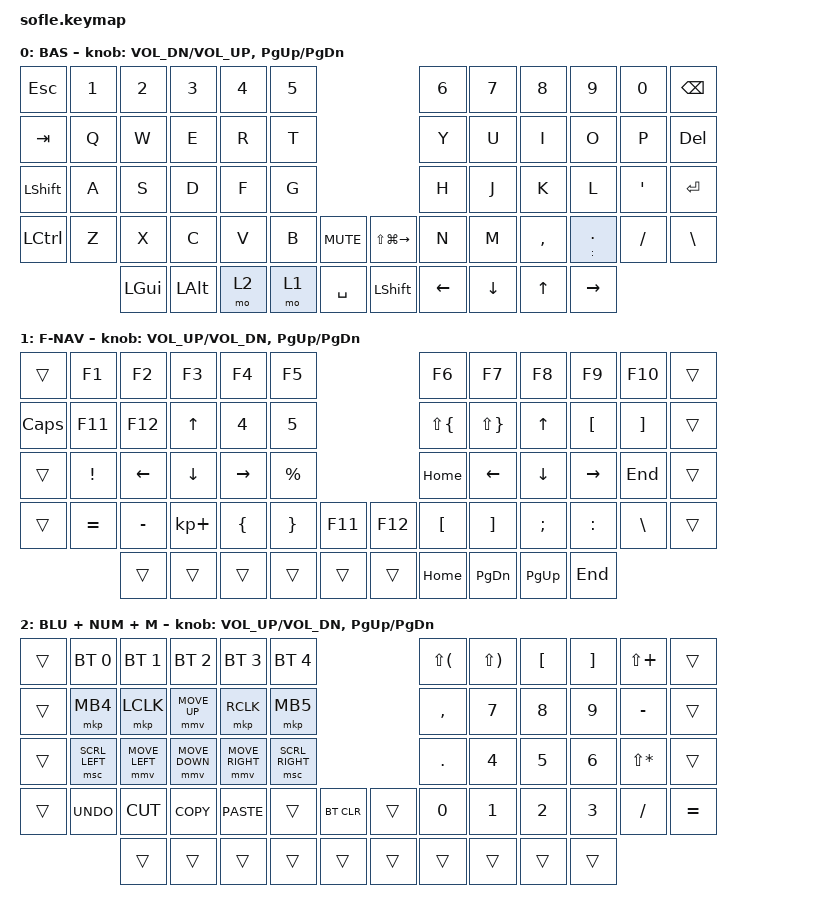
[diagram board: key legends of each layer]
/*
 * Copyright (c) 2020 The ZMK Contributors
 *
 * SPDX-License-Identifier: MIT
 */

#include <behaviors.dtsi>
#include <dt-bindings/zmk/bt.h>
#include <dt-bindings/zmk/keys.h>
#include <dt-bindings/zmk/pointing.h>

/ {
    combos {
        compatible = "zmk,combos";

        semi {
            bindings = <&kp SEMICOLON>;
            key-positions = <46 47>;
        };

        minus {
            bindings = <&kp MINUS>;
            key-positions = <27 28>;
        };

        equal {
            bindings = <&kp EQUAL>;
            key-positions = <31 32>;
        };
    };

    keymap {
        compatible = "zmk,keymap";

        default_layer {
            display-name = "BAS";

            // ------------------------------------------------------------------------------------------------------------
            // |  `    |  1  |  2  |  3   |  4   |  5   |                   |  6   |  7    |  8    |  9   |   0   |       |
            // |  ESC  |  Q  |  W  |  E   |  R   |  T   |                   |  Y   |  U    |  I    |  O   |   P   | BKSPC |
            // |  TAB  |  A  |  S  |  D   |  F   |  G   |                   |  H   |  J    |  K    |  L   |   ;   |   '   |
            // | SHIFT |  Z  |  X  |  C   |  V   |  B   |  MUTE  |  |       |  N   |  M    |  ,    |  .   |   /   | SHIFT |
            //               | GUI | ALT  | CTRL | LOWER|  ENTER |  | SPACE | RAISE| CTRL  | ALT   | GUI  |

            bindings = <
&kp ESC         &kp N1  &kp N2    &kp N3    &kp N4  &kp N5                                         &kp N6    &kp N7    &kp N8     &kp N9            &kp N0    &kp BSPC
&kp TAB         &kp Q   &kp W     &kp E     &kp R   &kp T                                          &kp Y     &kp U     &kp I      &kp O             &kp P     &kp DEL
&kp LEFT_SHIFT  &kp A   &kp S     &kp D     &kp F   &kp G                                          &kp H     &kp J     &kp K      &kp L             &kp APOS  &kp ENTER
&kp LCTRL       &kp Z   &kp X     &kp C     &kp V   &kp B   &kp C_MUTE    &kp LS(LG(RIGHT_ARROW))  &kp N     &kp M     &kp COMMA  &mt COLON PERIOD  &kp FSLH  &kp BSLH
                        &kp LGUI  &kp LALT  &mo 2   &mo 1   &kp SPACE     &kp LEFT_SHIFT           &kp LEFT  &kp DOWN  &kp UP     &kp RIGHT
            >;

            sensor-bindings =
                <&inc_dec_kp C_VOL_DN C_VOL_UP>,
                <&inc_dec_kp PG_UP PG_DN>;
        };

        F_NAV {
            display-name = "F-NAV";

            // ------------------------------------------------------------------------------------------------------------
            // | `     |  F1 |  F2 |  F3  |  F4  |  F5  |                   |  F6  |  F7   |  F8   |  F9  |  F10  |  F11  |
            // | RAISE |   1 |   2 |   3  |   4  |   5  |                   |   6  |   7   |   8   |   9  |    0  |  F12  |
            // |       |  !  |  @  |  #   |  $   |  %   |                   |  ^   |  &    |  *    |  (   |   )   |   |   |
            // |       |  =  |  -  |  +   |  {   |  }   |        |  |       |  [   |  ]    |  ;    |  :   |   \   |       |
            //               |     |      |      |      |        |  |       |      |       |       |      |

            bindings = <
&trans        &kp F1     &kp F2          &kp F3          &kp F4     &kp F5                         &kp F6        &kp F7         &kp F8       &kp F9     &kp F10   &trans
&kp CAPSLOCK  &kp F11    &kp F12         &kp UP_ARROW    &kp N4     &kp N5                         &kp LS(LBRC)  &kp LS(RBRC)   &kp UP       &kp LBKT   &kp RBKT  &trans
&trans        &kp EXCL   &kp LEFT_ARROW  &kp DOWN_ARROW  &kp RIGHT  &kp PRCNT                      &kp HOME      &kp LEFT       &kp DOWN     &kp RIGHT  &kp END   &trans
&trans        &kp EQUAL  &kp MINUS       &kp KP_PLUS     &kp LBRC   &kp RBRC   &kp F11    &kp F12  &kp LBKT      &kp RBKT       &kp SEMI     &kp COLON  &kp BSLH  &trans
                         &trans          &trans          &trans     &trans     &trans     &trans   &kp HOME      &kp PAGE_DOWN  &kp PAGE_UP  &kp END
            >;

            sensor-bindings = <&inc_dec_kp C_VOL_UP C_VOL_DN &inc_dec_kp PG_UP PG_DN>;
        };

        BLU_NUM_M {
            display-name = "BLU + NUM + M";

            // ------------------------------------------------------------------------------------------------------------
            // |BTCLR| BT1  | BT2  |  BT3  |  BT4  |  BT5 |                |      |      |       |      |       |       |
            // |     | INS  | PSCR | GUI   |       |      |                | PGUP |      |       |      |       |       |
            // |     | ALT  | CTRL | SHIFT |       | CAPS |                |  <-  |   v  |   ^   |  ->  |  DEL  | BKSPC |
            // |     | UNDO | CUT  | COPY  | PASTE |      |      |  |      |      |      |       |      |       |       |
            //              |      |       |       |      |      |  |      |      |      |       |      |

            bindings = <
&trans  &bt BT_SEL 0    &bt BT_SEL 1    &bt BT_SEL 2    &bt BT_SEL 3     &bt BT_SEL 4                           &kp LS(LPAR)  &kp LS(RPAR)  &kp LBKT  &kp RBKT  &kp LS(PLUS)  &trans
&trans  &mkp MB4        &mkp LCLK       &mmv MOVE_UP    &mkp RCLK        &mkp MB5                               &kp COMMA     &kp N7        &kp N8    &kp N9    &kp MINUS     &trans
&trans  &msc SCRL_LEFT  &mmv MOVE_LEFT  &mmv MOVE_DOWN  &mmv MOVE_RIGHT  &msc SCRL_RIGHT                        &kp DOT       &kp N4        &kp N5    &kp N6    &kp LS(STAR)  &trans
&trans  &kp K_UNDO      &kp K_CUT       &kp K_COPY      &kp K_PASTE      &trans           &bt BT_CLR    &trans  &kp N0        &kp N1        &kp N2    &kp N3    &kp FSLH      &kp EQUAL
                        &trans          &trans          &trans           &trans           &trans        &trans  &trans        &trans        &trans    &trans
            >;

            sensor-bindings = <&inc_dec_kp C_VOL_UP C_VOL_DN &inc_dec_kp PG_UP PG_DN>;
        };
    };
};
